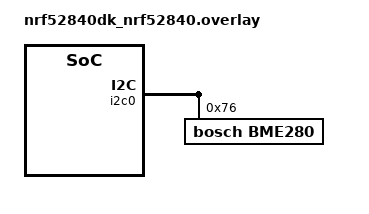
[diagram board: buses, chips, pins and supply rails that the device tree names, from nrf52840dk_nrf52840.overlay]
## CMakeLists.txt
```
# SPDX-License-Identifier: Apache-2.0

cmake_minimum_required(VERSION 3.20.0)

find_package(Zephyr REQUIRED HINTS $ENV{ZEPHYR_BASE})
project(test_bme280_zephyr)

target_sources(app PRIVATE src/main.c)
```

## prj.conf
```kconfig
CONFIG_GPIO=y
CONFIG_I2C=y
CONFIG_SENSOR=y
CONFIG_BME280=y

CONFIG_LOG=y
CONFIG_LOG_SPEED=y
CONFIG_UART_CONSOLE=y
CONFIG_SERIAL=y
# CONFIG_SHELL=y
CONFIG_NEWLIB_LIBC=y
CONFIG_NEWLIB_LIBC_FLOAT_PRINTF=y
```

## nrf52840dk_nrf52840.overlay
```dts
&i2c0 {
    status = "okay";

    bme280@76 {
        compatible = "bosch,bme280";
        reg = <0x76>;
        label = "BME280";
        status = "okay";
    };
};
```

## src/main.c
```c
/*
 * Copyright (c) 2024 ZHAW InES
 *
 * SPDX-License-Identifier: Apache-2.0
 */

#include <zephyr/kernel.h>
#include <zephyr/drivers/sensor.h>
#include <zephyr/logging/log.h>

LOG_MODULE_REGISTER(main, LOG_LEVEL_DBG);

static const struct device *const bme280_dev = DEVICE_DT_GET_ONE(bosch_bme280);


int main (void) {

	int rc;
	char buffer[32];
	struct sensor_value temperature;
	struct sensor_value humidity;
	struct sensor_value pressure;
	struct sensor_value gas_resistance;

	if (!device_is_ready(bme280_dev)) {
		LOG_ERR("BME280 not ready");
		return -ENODEV;
	}
	while (1) {

		rc = sensor_sample_fetch(bme280_dev);
		if (rc) {
			LOG_ERR("sensor_sample_fetch() bme280 failed: %d", rc);
		}

		rc = sensor_channel_get(bme280_dev, SENSOR_CHAN_AMBIENT_TEMP, &temperature);
		if (rc) {
			LOG_ERR("sensor_channel_get() bme280 temp failed: %d", rc);
		}

		rc = sensor_channel_get(bme280_dev, SENSOR_CHAN_HUMIDITY, &humidity);
		if (rc) {
			LOG_ERR("sensor_channel_get() bme280 hum failed: %d", rc);
		}

		rc = sensor_channel_get(bme280_dev, SENSOR_CHAN_PRESS, &pressure);
		if (rc) {
			LOG_ERR("sensor_channel_get() bme680 press failed: %d", rc);
		}

		sensor_channel_get(bme280_dev, SENSOR_CHAN_GAS_RES, &gas_resistance);
		if (rc) {
			LOG_ERR("sensor_channel_get() bme680 gas failed: %d", rc);
		}

		snprintf(buffer, sizeof(buffer), "%f", sensor_value_to_double(&temperature));
		LOG_INF("temperature: %s", buffer);
		snprintf(buffer, sizeof(buffer), "%f", sensor_value_to_double(&humidity));
		LOG_INF("humidity: %s", buffer);
		snprintf(buffer, sizeof(buffer), "%f", sensor_value_to_double(&pressure));
		LOG_INF("pressure: %s", buffer);

		k_sleep(K_SECONDS(2));
	}

}
```
